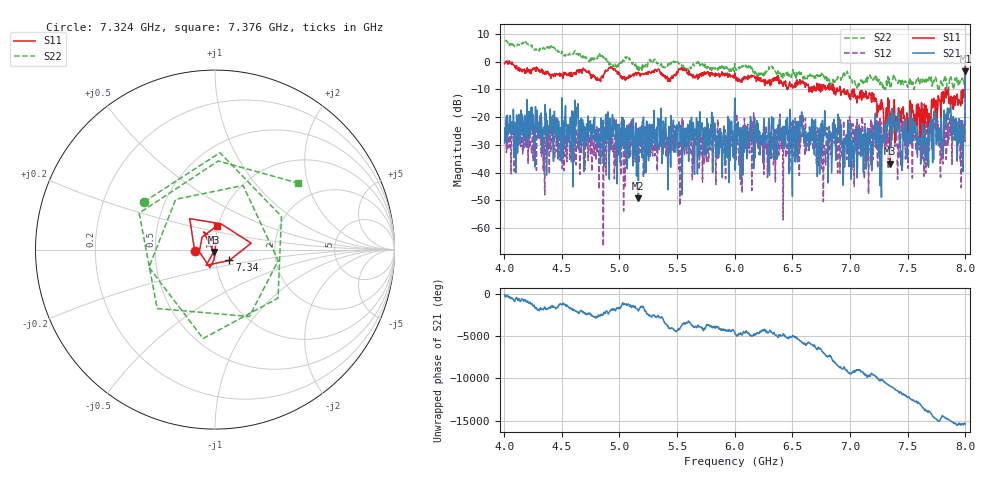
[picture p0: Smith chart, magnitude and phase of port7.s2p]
# Hz S RI R 50
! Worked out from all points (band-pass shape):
!   1000 points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, 4.004 GHz to 8 GHz, reference 50 ohm
!   highest |S21| = -3.39 dB at 8 GHz (marker M1); lowest = -49.2 dB at 5.164 GHz (marker M2)
!   |S21| within 3 dB of the highest: 7.999261 GHz to end of sweep
!   lowest |S11| = -36.7 dB at 7.348 GHz (marker M3), VSWR 1.03, Z = 49.3 - j1.25 ohm
!   |S11| at or under -10 dB: 6.948 GHz to 7.024 GHz (75.16 MHz wide, 1.08 % of centre); 7.036 GHz to 7.827 GHz (790.9 MHz wide, 10.6 % of centre); 7.852 GHz to 7.98 GHz (127.6 MHz wide, 1.61 % of centre) (the widest 3 of 25)
!   |S22| runs from -12.1 to 7.7 dB; largest |S21 - S12| = 0.89
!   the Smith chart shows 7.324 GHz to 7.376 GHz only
!   S11 on the Smith chart (normalised r, x): 7.324 GHz: 0.80, -0.01; 7.34 GHz: 1.17, -0.14; 7.376 GHz: 0.99, +0.27
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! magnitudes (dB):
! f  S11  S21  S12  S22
! 4.004 GHz  -0.8  -29.3  -25.9  7.7
! 4.672 GHz  -3.8  -27.6  -29.2  2.3
! 5.164 GHz  -3.8  -49.2  -24.7  -1.8
! 5.336 GHz  -2.7  -21.0  -31.0  -0.5
! 6.004 GHz  -5.8  -39.1  -29.8  -2.6
! 6.668 GHz  -9.0  -20.6  -25.4  -4.9
! 6.772 GHz  -8.3  -26.2  -35.9  -5.1
! 6.868 GHz  -10.4  -23.2  -22.7  -7.3
! 7.044 GHz  -11.8  -24.4  -26.0  -7.9
! 7.224 GHz  -13.2  -22.8  -23.0  -5.1
! 7.268 GHz  -17.1  -36.2  -40.2  -8.0
! 7.324 GHz  -18.9  -23.1  -28.6  -6.4
! 7.336 GHz  -13.8  -19.0  -27.6  -7.1
! 7.34 GHz  -20.0  -21.0  -23.1  -6.0
! 7.348 GHz  -36.7  -22.1  -30.5  -9.0
! 7.376 GHz  -17.5  -18.9  -22.6  -4.5
! 7.448 GHz  -17.0  -32.3  -20.4  -7.8
! 7.744 GHz  -17.3  -20.2  -18.8  -5.7
! 7.788 GHz  -20.0  -20.3  -24.7  -6.9
! 7.86 GHz  -15.1  -18.6  -25.2  -7.8
! 7.976 GHz  -10.6  -25.4  -21.2  -5.9
! 8 GHz  -0.1  -3.4  -1.3  0.4
